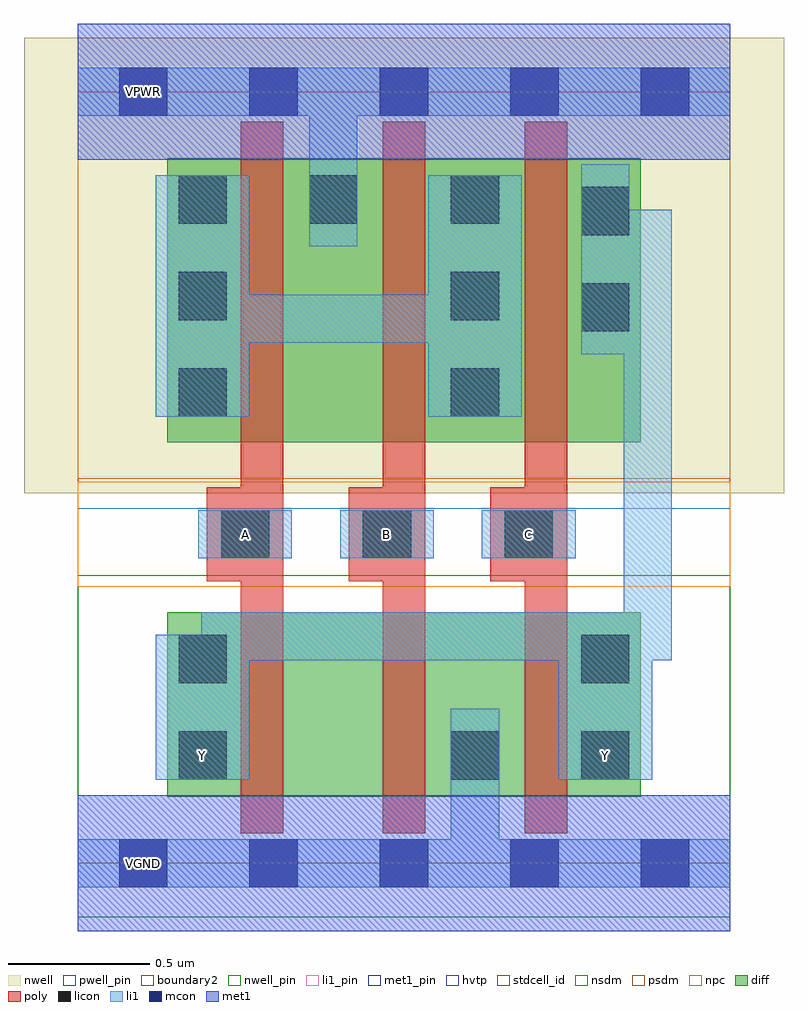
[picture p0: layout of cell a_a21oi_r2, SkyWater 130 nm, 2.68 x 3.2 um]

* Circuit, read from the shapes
.subckt a_a21oi_r2 A B C VGND VNB VPB VPWR Y
XM1 n1 A Y VNB sky130_fd_pr__nfet_01v8 w=0.65 l=0.15
XM2 VGND B n1 VNB sky130_fd_pr__nfet_01v8 w=0.65 l=0.15
XM3 Y C VGND VNB sky130_fd_pr__nfet_01v8 w=0.65 l=0.15
XM4 VPWR A n2 VPB sky130_fd_pr__pfet_01v8_hvt w=1 l=0.15
XM5 n2 B VPWR VPB sky130_fd_pr__pfet_01v8_hvt w=1 l=0.15
XM6 Y C n2 VPB sky130_fd_pr__pfet_01v8_hvt w=1 l=0.15
.ends

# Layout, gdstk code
import gdstk
lib = gdstk.Library(unit=1e-6, precision=1e-09)
def R(c, l, rs):  # rectangles x0, y0, x1, y1
    for r in rs: c.add(gdstk.rectangle(r[:2], r[2:], *l))
def A(c, l, x, y, w, h, nx, ny, dx, dy):  # array of equal rectangles
    R(c, l, [(x+i*dx, y+j*dy, x+i*dx+w, y+j*dy+h) for i in range(nx) for j in range(ny)])
nwell_pin = (64, 16)
nwell = (64, 20)
diff = (65, 20)
poly = (66, 20)
licon = (66, 44)
li1_pin = (67, 16)
li1 = (67, 20)
mcon = (67, 44)
met1_pin = (68, 16)
met1 = (68, 20)
hvtp = (78, 44)
stdcell_id = (81, 4)
nsdm = (93, 44)
psdm = (94, 20)
npc = (95, 20)
pwell_pin = (122, 16)
boundary2 = (236, 0)

a_a21oi_r2 = lib.new_cell('a_a21oi_r2')
R(a_a21oi_r2, nwell_pin, [(0.145,2.635,0.315,2.805)])
R(a_a21oi_r2, nwell, [(-0.19,1.305,2.49,2.91)])
R(a_a21oi_r2, diff, [(0.315,0.235,0.9,0.885), (0.9,0.235,1.4,0.885), (1.4,0.235,1.985,0.885), (0.315,1.485,0.9,2.485), (0.9,1.485,1.4,2.485), (1.4,1.485,1.985,2.485)])
A(a_a21oi_r2, poly, 0.575, 0.105, 0.15, 2.51, 3, 1, 0.5, 0)
A(a_a21oi_r2, poly, 0.455, 0.995, 0.27, 0.33, 3, 1, 0.5, 0)
A(a_a21oi_r2, licon, 0.505, 1.075, 0.17, 0.17, 3, 1, 0.5, 0)
A(a_a21oi_r2, licon, 0.355, 1.575, 0.17, 0.17, 1, 3, 0, 0.34)
A(a_a21oi_r2, licon, 1.315, 1.575, 0.17, 0.17, 1, 3, 0, 0.34)
R(a_a21oi_r2, licon, [(0.355,0.295,0.525,0.465), (1.315,0.295,1.485,0.465), (1.775,0.295,1.945,0.465), (0.355,0.635,0.525,0.805), (1.775,0.635,1.945,0.805), (1.775,1.875,1.945,2.045), (1.775,2.215,1.945,2.385), (0.815,2.255,0.985,2.425)])
A(a_a21oi_r2, li1_pin, 0.505, 1.075, 0.17, 0.17, 3, 1, 0.5, 0)
R(a_a21oi_r2, li1_pin, [(0.355,0.295,0.525,0.465), (1.775,0.295,1.945,0.465)])
A(a_a21oi_r2, li1, 0.425, 1.075, 0.33, 0.17, 3, 1, 0.5, 0)
R(a_a21oi_r2, li1, [(0,-0.085,2.3,0.085), (1.315,-0.085,1.485,0.545), (0.275,0.295,0.605,0.465), (0.275,0.295,0.605,0.805), (0.435,0.295,0.605,0.885), (1.695,0.295,2.025,0.465), (1.695,0.295,1.865,0.885), (1.695,0.295,2.025,0.805), (0.435,0.715,1.865,0.885), (1.695,0.715,2.095,0.885), (1.865,0.715,1.925,0.885), (1.865,0.715,1.925,0.885), (1.865,0.715,1.925,0.885), (1.865,0.715,1.925,0.885), (1.865,0.715,1.925,0.885), (1.865,0.715,1.925,0.885), (1.865,0.715,1.925,0.885), (1.865,0.715,1.925,0.885), (1.925,0.715,2.095,2.305), (0.275,1.575,0.605,2.085), (1.235,1.575,1.565,2.085), (1.775,1.795,1.945,2.385), (0.435,1.835,0.605,2.425), (0.435,1.835,1.405,2.005), (1.235,1.835,1.405,2.425), (0.275,1.915,0.605,2.425), (1.235,1.915,1.565,2.425), (1.775,2.135,1.945,2.465), (1.775,2.135,2.095,2.305), (0.815,2.175,0.985,2.805), (0.275,2.255,0.605,2.425), (1.235,2.255,1.565,2.425), (0,2.635,2.3,2.805)])
A(a_a21oi_r2, mcon, 0.145, -0.085, 0.17, 0.17, 5, 2, 0.46, 2.72)
R(a_a21oi_r2, met1_pin, [(0.145,-0.085,0.315,0.085), (0.145,2.635,0.315,2.805)])
R(a_a21oi_r2, met1, [(0,-0.24,2.3,0.24), (0,2.48,2.3,2.96)])
R(a_a21oi_r2, hvtp, [(0,1.25,2.3,2.72)])
R(a_a21oi_r2, stdcell_id, [(0,0,2.3,2.72)])
R(a_a21oi_r2, nsdm, [(0,-0.19,2.3,1.015)])
R(a_a21oi_r2, psdm, [(0,1.355,2.3,2.91)])
R(a_a21oi_r2, npc, [(0,0.975,2.3,1.345)])
R(a_a21oi_r2, pwell_pin, [(0.145,-0.085,0.315,0.085)])
R(a_a21oi_r2, boundary2, [(0,0,2.3,2.72)])
a_a21oi_r2.add(gdstk.Label('A', (0.59,1.16), layer=67, texttype=5))
a_a21oi_r2.add(gdstk.Label('B', (1.09,1.16), layer=67, texttype=5))
a_a21oi_r2.add(gdstk.Label('C', (1.59,1.16), layer=67, texttype=5))
a_a21oi_r2.add(gdstk.Label('Y', (0.44,0.38), layer=67, texttype=5))
a_a21oi_r2.add(gdstk.Label('Y', (1.86,0.38), layer=67, texttype=5))
a_a21oi_r2.add(gdstk.Label('VGND', (0.23,0), layer=68, texttype=5))
a_a21oi_r2.add(gdstk.Label('VPWR', (0.23,2.72), layer=68, texttype=5))
a_a21oi_r2.add(gdstk.Label('VPB', (0.23,2.72), layer=64, texttype=5))
a_a21oi_r2.add(gdstk.Label('VNB', (0.23,0), layer=64, texttype=59))

lib.write_gds('a_a21oi_r2.gds')
